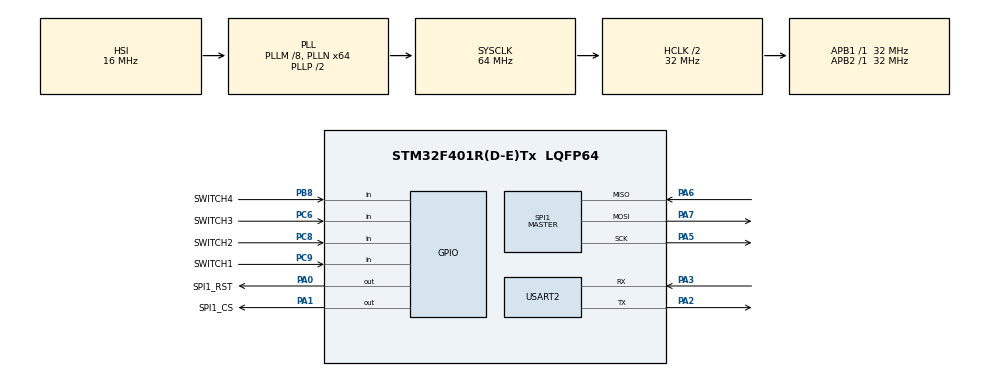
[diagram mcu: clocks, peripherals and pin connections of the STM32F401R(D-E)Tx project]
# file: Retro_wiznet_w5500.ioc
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FREERTOS.Tasks01=defaultTask,24,128,StartDefaultTask,Default,NULL,Dynamic,NULL,NULL
FREERTOS.configUSE_NEWLIB_REENTRANT=1
Mcu.Family=STM32F4
Mcu.Name=STM32F401R(D-E)Tx
Mcu.Package=LQFP64
NVIC.PriorityGroup=NVIC_PRIORITYGROUP_4
NVIC.TIM1_UP_TIM10_IRQn=true\:15\:0\:false\:false\:true\:false\:false\:true\:true
NVIC.TimeBase=TIM1_UP_TIM10_IRQn
NVIC.TimeBaseIP=TIM1
PA0-WKUP.GPIO_Label=SPI1_RST
PA0-WKUP.Signal=GPIO_Output
PA1.GPIO_Label=SPI1_CS
PA1.Signal=GPIO_Output
PA2.Mode=Asynchronous
PA2.Signal=USART2_TX
PA3.Mode=Asynchronous
PA3.Signal=USART2_RX
PA5.Mode=Full_Duplex_Master
PA5.Signal=SPI1_SCK
PA6.Mode=Full_Duplex_Master
PA6.Signal=SPI1_MISO
PA7.Mode=Full_Duplex_Master
PA7.Signal=SPI1_MOSI
PB8.GPIO_Label=SWITCH4
PB8.GPIO_PuPd=GPIO_PULLDOWN
PB8.Signal=GPIO_Input
PC6.GPIO_Label=SWITCH3
PC6.GPIO_PuPd=GPIO_PULLDOWN
PC6.Signal=GPIO_Input
PC8.GPIO_Label=SWITCH2
PC8.GPIO_PuPd=GPIO_PULLDOWN
PC8.Signal=GPIO_Input
PC9.GPIO_Label=SWITCH1
PC9.GPIO_PuPd=GPIO_PULLDOWN
PC9.Signal=GPIO_Input
ProjectManager.HeapSize=0x200
ProjectManager.StackSize=0x400
ProjectManager.TargetToolchain=STM32CubeIDE
RCC.48MHZClocksFreq_Value=32000000
RCC.AHBCLKDivider=RCC_SYSCLK_DIV2
RCC.AHBFreq_Value=32000000
RCC.APB1Freq_Value=32000000
RCC.APB1TimFreq_Value=32000000
RCC.APB2Freq_Value=32000000
RCC.APB2TimFreq_Value=32000000
RCC.CortexFreq_Value=32000000
RCC.HCLKFreq_Value=32000000
RCC.HSE_VALUE=25000000
RCC.HSI_VALUE=16000000
RCC.LSE_VALUE=32768
RCC.PLLM=8
RCC.PLLN=64
RCC.SYSCLKFreq_VALUE=64000000
RCC.SYSCLKSource=RCC_SYSCLKSOURCE_PLLCLK
RCC.VCOOutputFreq_Value=128000000
SPI1.BaudRatePrescaler=SPI_BAUDRATEPRESCALER_2
SPI1.Direction=SPI_DIRECTION_2LINES
SPI1.Mode=SPI_MODE_MASTER
SPI1.VirtualType=VM_MASTER
USART2.VirtualMode=VM_ASYNC
VP_FREERTOS_VS_CMSIS_V2.Mode=CMSIS_V2
VP_SYS_VS_tim1.Mode=TIM1
board=custom

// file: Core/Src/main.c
/* USER CODE BEGIN Header */
/**
  ******************************************************************************
  * @file           : main.c
  * @brief          : Main program body
  ******************************************************************************
  * @attention
  *
  * Copyright (c) 2024 STMicroelectronics.
  * All rights reserved.
  *
  * This software is licensed under terms that can be found in the LICENSE file
  * in the root directory of this software component.
  * If no LICENSE file comes with this software, it is provided AS-IS.
  *
  ******************************************************************************
  */
/* USER CODE END Header */
#include "main.h"
#include "cmsis_os.h"

/* USER CODE BEGIN Includes */

#include <stdio.h>
#include <string.h>
#include <stdbool.h>

#include "dns.h"
#include "dhcp.h"
#include "socket.h"
#include "w5500_spi.h"
#include "MQTTClient.h"
#include "wizchip_conf.h"
#include "mqtt_interface.h"

/* USER CODE END Includes */

/* USER CODE BEGIN PTD */
#define DHCP_BUFF_SIZE	   2048
#define SOCKET_ID_FOR_DHCP 7
#define SOCKET_ID_FOR_DNS  6

#define SWITCH_EVENT_QUEUE_SIZE 20
#define SWITCH_TASK_STACK_SIZE 512
#define MQTT_TASK_STACK_SIZE 1024

#define SWITCH_TASK_PRIORITY 3  // Higher priority
#define MQTT_TASK_PRIORITY 2   // Lower priority
/* USER CODE END PTD */

SPI_HandleTypeDef hspi1;

UART_HandleTypeDef huart2;

/* Definitions for defaultTask */
osThreadId_t defaultTaskHandle;
const osThreadAttr_t defaultTask_attributes = {
  .name = "defaultTask",
  .stack_size = 128 * 4,
  .priority = (osPriority_t) osPriorityNormal,
};
/* USER CODE BEGIN PV */
osThreadId_t switchTaskHandle;
osThreadId_t mqttTaskHandle;
osMessageQueueId_t switchEventQueueHandle;

wiz_NetInfo gWIZNETINFO = {
		.mac = { 0x80, 0x34, 0x28, 0x74, 0xA5, 0xCB },//MSB - LSB
		.ip ={ 192, 168, 1, 112 },
		.sn = { 255, 255, 255, 0 },
		.gw ={ 192, 168, 1, 1 },
		.dns = { 8, 8, 8, 8 },
		.dhcp = NETINFO_STATIC };

uint8_t dhcp_buffer[DHCP_BUFF_SIZE];
uint8_t destination_ip[]={192,168,1,36};
uint16_t destination_port = 1883;

MQTTClient mqtt_client;
Network network;
MQTTPacket_connectData connect_data = MQTTPacket_connectData_initializer;
MQTTMessage msg={QOS0,1,0,1,"hello from wiznet!",18};

uint8_t sendbuff[256],receivebuff[256];

uint8_t dns_buffer[MAX_DNS_BUF_SIZE];
extern bool StateChangeFlag;
bool tempflag = false;
uint8_t dns_ip[4] = {8,8,8,8};
char* remote_host = "mqtt.onwords.in";
uint8_t remote_host_ip[4];
uint8_t chk = 1;
int result;
/* USER CODE END PV */

void SystemClock_Config(void);
static void MX_GPIO_Init(void);
static void MX_SPI1_Init(void);
static void MX_USART2_UART_Init(void);
void StartDefaultTask(void *argument);

/* USER CODE BEGIN PFP */
void InitializeHardware(void);
void InitializeW5500(void);
void Task_SwitchHandler(void *argument);
void Task_MQTTHandler(void *argument);
static void PHYStatusCheck(void);
static void PrintPHYConf(void);
void SWITCH_Handler(void);
void OnDHCPIPAssigned(void);
void DisplayNetworkConfigurations();
void FlushQueue(osMessageQueueId_t queueHandle);
/* USER CODE END PFP */

int main(void)
{

  /* MCU Configuration--------------------------------------------------------*/

  /* Reset of all peripherals, Initializes the Flash interface and the Systick. */
  HAL_Init();

  /* Configure the system clock */
  SystemClock_Config();

  /* Initialize all configured peripherals */
  MX_GPIO_Init();
  MX_SPI1_Init();
  MX_USART2_UART_Init();
  /* USER CODE BEGIN 2 */
  printf("Sys Init\r\n");
  //printf("w5500initialized\n\r");
  InitializeW5500();
  printf("w5500initialized\n\r");
  /* USER CODE END 2 */

  /* Init scheduler */
  osKernelInitialize();

  /* USER CODE BEGIN RTOS_QUEUES */
  switchEventQueueHandle = osMessageQueueNew(SWITCH_EVENT_QUEUE_SIZE, sizeof(uint8_t), NULL);
  /* add queues, ... */
  /* USER CODE END RTOS_QUEUES */

  /* Create the thread(s) */
  /* creation of defaultTask */
  defaultTaskHandle = osThreadNew(StartDefaultTask, NULL, &defaultTask_attributes);

  /* USER CODE BEGIN RTOS_EVENTS */
  osThreadNew(Task_SwitchHandler, NULL, &(osThreadAttr_t){
  	  .name = "SwitchTask",
  	  .priority = (osPriority_t)SWITCH_TASK_PRIORITY,
  	  .stack_size = SWITCH_TASK_STACK_SIZE
    });

	osThreadNew(Task_MQTTHandler, NULL, &(osThreadAttr_t){
	  .name = "MQTTTask",
	  .priority = (osPriority_t)MQTT_TASK_PRIORITY,
	  .stack_size = MQTT_TASK_STACK_SIZE
	});
  /* add events, ... */
  /* USER CODE END RTOS_EVENTS */

  /* Start scheduler */
  osKernelStart();

  /* We should never get here as control is now taken by the scheduler */

  /* Infinite loop */
  while (1)
  {

  }
}

void SystemClock_Config(void)
{
  RCC_OscInitTypeDef RCC_OscInitStruct = {0};
  RCC_ClkInitTypeDef RCC_ClkInitStruct = {0};

  /** Configure the main internal regulator output voltage
  */
  __HAL_RCC_PWR_CLK_ENABLE();
  __HAL_PWR_VOLTAGESCALING_CONFIG(PWR_REGULATOR_VOLTAGE_SCALE2);

  /** Initializes the RCC Oscillators according to the specified parameters
  * in the RCC_OscInitTypeDef structure.
  */
  RCC_OscInitStruct.OscillatorType = RCC_OSCILLATORTYPE_HSI;
  RCC_OscInitStruct.HSIState = RCC_HSI_ON;
  RCC_OscInitStruct.HSICalibrationValue = RCC_HSICALIBRATION_DEFAULT;
  RCC_OscInitStruct.PLL.PLLState = RCC_PLL_ON;
  RCC_OscInitStruct.PLL.PLLSource = RCC_PLLSOURCE_HSI;
  RCC_OscInitStruct.PLL.PLLM = 8;
  RCC_OscInitStruct.PLL.PLLN = 64;
  RCC_OscInitStruct.PLL.PLLP = RCC_PLLP_DIV2;
  RCC_OscInitStruct.PLL.PLLQ = 4;
  if (HAL_RCC_OscConfig(&RCC_OscInitStruct) != HAL_OK)
  {
    Error_Handler();
  }

  /** Initializes the CPU, AHB and APB buses clocks
  */
  RCC_ClkInitStruct.ClockType = RCC_CLOCKTYPE_HCLK|RCC_CLOCKTYPE_SYSCLK
                              |RCC_CLOCKTYPE_PCLK1|RCC_CLOCKTYPE_PCLK2;
  RCC_ClkInitStruct.SYSCLKSource = RCC_SYSCLKSOURCE_PLLCLK;
  RCC_ClkInitStruct.AHBCLKDivider = RCC_SYSCLK_DIV2;
  RCC_ClkInitStruct.APB1CLKDivider = RCC_HCLK_DIV1;
  RCC_ClkInitStruct.APB2CLKDivider = RCC_HCLK_DIV1;

  if (HAL_RCC_ClockConfig(&RCC_ClkInitStruct, FLASH_LATENCY_1) != HAL_OK)
  {
    Error_Handler();
  }
}

static void MX_SPI1_Init(void)
{

  /* SPI1 parameter configuration*/
  hspi1.Instance = SPI1;
  hspi1.Init.Mode = SPI_MODE_MASTER;
  hspi1.Init.Direction = SPI_DIRECTION_2LINES;
  hspi1.Init.DataSize = SPI_DATASIZE_8BIT;
  hspi1.Init.CLKPolarity = SPI_POLARITY_LOW;
  hspi1.Init.CLKPhase = SPI_PHASE_1EDGE;
  hspi1.Init.NSS = SPI_NSS_SOFT;
  hspi1.Init.BaudRatePrescaler = SPI_BAUDRATEPRESCALER_2;
  hspi1.Init.FirstBit = SPI_FIRSTBIT_MSB;
  hspi1.Init.TIMode = SPI_TIMODE_DISABLE;
  hspi1.Init.CRCCalculation = SPI_CRCCALCULATION_DISABLE;
  hspi1.Init.CRCPolynomial = 10;
  if (HAL_SPI_Init(&hspi1) != HAL_OK)
  {
    Error_Handler();
  }

}

static void MX_USART2_UART_Init(void)
{

  huart2.Instance = USART2;
  huart2.Init.BaudRate = 115200;
  huart2.Init.WordLength = UART_WORDLENGTH_8B;
  huart2.Init.StopBits = UART_STOPBITS_1;
  huart2.Init.Parity = UART_PARITY_NONE;
  huart2.Init.Mode = UART_MODE_TX_RX;
  huart2.Init.HwFlowCtl = UART_HWCONTROL_NONE;
  huart2.Init.OverSampling = UART_OVERSAMPLING_16;
  if (HAL_UART_Init(&huart2) != HAL_OK)
  {
    Error_Handler();
  }

}

static void MX_GPIO_Init(void)
{
  GPIO_InitTypeDef GPIO_InitStruct = {0};

  /* GPIO Ports Clock Enable */
  __HAL_RCC_GPIOA_CLK_ENABLE();
  __HAL_RCC_GPIOC_CLK_ENABLE();
  __HAL_RCC_GPIOB_CLK_ENABLE();

  /*Configure GPIO pin Output Level */
  HAL_GPIO_WritePin(GPIOA, SPI1_RST_Pin|SPI1_CS_Pin, GPIO_PIN_RESET);

  /*Configure GPIO pins : SPI1_RST_Pin SPI1_CS_Pin */
  GPIO_InitStruct.Pin = SPI1_RST_Pin|SPI1_CS_Pin;
  GPIO_InitStruct.Mode = GPIO_MODE_OUTPUT_PP;
  GPIO_InitStruct.Pull = GPIO_NOPULL;
  GPIO_InitStruct.Speed = GPIO_SPEED_FREQ_LOW;
  HAL_GPIO_Init(GPIOA, &GPIO_InitStruct);

  /*Configure GPIO pins : SWITCH3_Pin SWITCH2_Pin SWITCH1_Pin */
  GPIO_InitStruct.Pin = SWITCH3_Pin|SWITCH2_Pin|SWITCH1_Pin;
  GPIO_InitStruct.Mode = GPIO_MODE_INPUT;
  GPIO_InitStruct.Pull = GPIO_PULLDOWN;
  HAL_GPIO_Init(GPIOC, &GPIO_InitStruct);

  /*Configure GPIO pin : SWITCH4_Pin */
  GPIO_InitStruct.Pin = SWITCH4_Pin;
  GPIO_InitStruct.Mode = GPIO_MODE_INPUT;
  GPIO_InitStruct.Pull = GPIO_PULLDOWN;
  HAL_GPIO_Init(SWITCH4_GPIO_Port, &GPIO_InitStruct);

}

/* USER CODE BEGIN 4 */
void InitializeW5500(void)
{
	printf("enters on w5500\r\n");
	W5500Init();
	wiz_PhyConf phyconf;

	phyconf.by=PHY_CONFBY_SW;
	phyconf.duplex=PHY_DUPLEX_FULL;
	phyconf.speed=PHY_SPEED_10;
	phyconf.mode=PHY_MODE_AUTONEGO;//best to go with auto-negotiation

	ctlwizchip(CW_SET_PHYCONF, (void*) &phyconf);

	PHYStatusCheck();
	PrintPHYConf();
}

void Task_SwitchHandler(void *argument) {
    uint8_t detected_switch_id = 0;
    uint8_t prev_SwitchState[] = {HAL_GPIO_ReadPin(SWITCH1_GPIO_Port, SWITCH1_Pin), HAL_GPIO_ReadPin(SWITCH2_GPIO_Port, SWITCH2_Pin),
    		HAL_GPIO_ReadPin(SWITCH3_GPIO_Port, SWITCH3_Pin),HAL_GPIO_ReadPin(SWITCH4_GPIO_Port, SWITCH4_Pin)};
	uint8_t Switch_CurrentState[4];
    while (1)
    {
    	Switch_CurrentState[0] = HAL_GPIO_ReadPin(SWITCH1_GPIO_Port, SWITCH1_Pin);
		if (Switch_CurrentState[0] != prev_SwitchState[0])
		{
			detected_switch_id = 1;
			prev_SwitchState[0] = Switch_CurrentState[0];
		}

        if (detected_switch_id != 0) {
            if (osMessageQueuePut(switchEventQueueHandle, &detected_switch_id, 0, 0) != osOK) {
            	osDelay(10);
				if (osMessageQueuePut(switchEventQueueHandle, &detected_switch_id, 0, 0) != osOK) {
					printf("Queue full after retry. Dropping switch event.\r\n");
				}
            }
            detected_switch_id = 0;
        }

        osDelay(10);
    }
}

void Task_MQTTHandler(void *argument)
{
    uint8_t mqtt_connected = 0;
    uint8_t result;
    uint8_t remote_host_ip[4];

    DHCP_init(SOCKET_ID_FOR_DHCP, dhcp_buffer);
	reg_dhcp_cbfunc(OnDHCPIPAssigned, NULL, NULL);
	printf("Obtaining IP address ...\r\n");
	//MQTT Client Part
	connect_data.willFlag = 0;
	connect_data.MQTTVersion = 4;
	connect_data.clientID.cstring = "testw5500";
	connect_data.username.cstring = "Nikhil";
	connect_data.password.cstring = "Nikhil8182";

	connect_data.keepAliveInterval = 60;//seconds
	connect_data.cleansession = 1;

	NewNetwork(&network, 1);//1 is the socket number to use
	DNS_init(SOCKET_ID_FOR_DNS, dns_buffer);

    while(StateChangeFlag == false)
   	{
   	  DHCP_run();
   	}

    printf("Resolving hostname: %s\n", remote_host);
	result = DNS_run(gWIZNETINFO.dns, (uint8_t *)remote_host, remote_host_ip);

	if (result != 1)
	{
	   printf("DNS resolution failed for hostname: %s\n", remote_host);
	   while (1);
	}

	printf("Hostname resolved: %s -> %d.%d.%d.%d\n",
		  remote_host, remote_host_ip[0], remote_host_ip[1], remote_host_ip[2], remote_host_ip[3]);

	if (ConnectNetwork(&network, remote_host_ip, destination_port) != SOCK_OK)
	{
	   printf("Failed to connect to MQTT broker.\n");
	   while (1);
	}

	printf("Connected to MQTT broker.\n");

	MQTTClientInit(&mqtt_client, &network, 1000, sendbuff, sizeof(sendbuff), receivebuff, sizeof(receivebuff));
	connect_data.keepAliveInterval = 120;

	if (MQTTConnect(&mqtt_client, &connect_data) != MQTT_SUCCESS)
	{
	   printf("MQTT connection failed.\n");
	   while (1);
	}
    mqtt_connected = 1;
    printf("MQTT connection established.\n");

    while (1) {
            if (mqtt_connected)
            {
                if (!MQTTIsConnected(&mqtt_client))
                {
                    printf("MQTT connection lost. Attempting to reconnect...\n");
                    mqtt_connected = 0;
                }
                else
                {
                	uint8_t switch_event;
					if (osMessageQueueGet(switchEventQueueHandle, &switch_event, NULL, 0) == osOK)
					{
					   char message[32];
					   snprintf(message, sizeof(message), "switch %d detected", switch_event);

					   MQTTMessage mqtt_message = {
						   .qos = QOS0,
						   .retained = 0,
						   .dup = 0,
						   .id = 0,
						   .payload = message,
						   .payloadlen = strlen(message)
					   };

					   if (MQTTPublish(&mqtt_client, "onwords/wired002/status", &mqtt_message) == MQTT_SUCCESS)
					   {
						   printf("Published: %s\n", message);
					   } else
					   {
						   printf("MQTT publish failed.\n");
					   }
					   FlushQueue(switchEventQueueHandle);
					}
					 MQTTYield(&mqtt_client, 100);
                }
            }

            if (!mqtt_connected) {

            	result = DNS_run(gWIZNETINFO.dns, (uint8_t *)remote_host, remote_host_ip);

            		if (result != 1)
            		{
            		   printf("DNS resolution failed for hostname: %s\n", remote_host);
            		   while (1);
            		}

            		printf("Hostname resolved: %s -> %d.%d.%d.%d\n",
            			  remote_host, remote_host_ip[0], remote_host_ip[1], remote_host_ip[2], remote_host_ip[3]);

            		if (ConnectNetwork(&network, remote_host_ip, destination_port) != SOCK_OK)
            		{
            		   printf("Failed to connect to MQTT broker.\n");
            		   while (1);
            		}

            		printf("Connected to MQTT broker.\n");

            		MQTTClientInit(&mqtt_client, &network, 1000, sendbuff, sizeof(sendbuff), receivebuff, sizeof(receivebuff));
            		//connect_data.keepAliveInterval = 120;

            		if (MQTTConnect(&mqtt_client, &connect_data) != MQTT_SUCCESS)
            		{
            		   printf("MQTT connection failed.\n");
            		   while (1);
            		}
            	    mqtt_connected = 1;
            	    printf("MQTT connection established.\n");
            }
            osDelay(100);
        }
}

#define PUTCHAR  int __io_putchar(int ch)
PUTCHAR
{
	HAL_UART_Transmit(&huart2, (uint8_t*)&ch, 1, HAL_MAX_DELAY);
	return ch;
}

void PHYStatusCheck(void)
{
	uint8_t tmp;

	do
	{
		printf("\r\nChecking Ethernet Cable Presence ...");
		ctlwizchip(CW_GET_PHYLINK, (void*) &tmp);

		if(tmp == PHY_LINK_OFF)
		{
			printf("NO Cable Connected!");
			HAL_Delay(1500);
		}
	}while(tmp == PHY_LINK_OFF);

	printf("Good! Cable got connected!");

}

void PrintPHYConf(void)
{
	wiz_PhyConf phyconf;

	ctlwizchip(CW_GET_PHYCONF, (void*) &phyconf);

	if(phyconf.by==PHY_CONFBY_HW)
	{
		printf("\n\rPHY Configured by Hardware Pins");
	}
	else
	{
		printf("\n\rPHY Configured by Registers");
	}

	if(phyconf.mode==PHY_MODE_AUTONEGO)
	{
		printf("\n\rAutonegotiation Enabled");
	}
	else
	{
		printf("\n\rAutonegotiation NOT Enabled");
	}

	if(phyconf.duplex==PHY_DUPLEX_FULL)
	{
		printf("\n\rDuplex Mode: Full");
	}
	else
	{
		printf("\n\rDuplex Mode: Half");
	}

	if(phyconf.speed==PHY_SPEED_10)
	{
		printf("\n\rSpeed: 10Mbps");
	}
	else
	{
		printf("\n\rSpeed: 100Mbps");
	}
}

void DisplayNetworkConfigurations()
{
	ctlnetwork(CN_GET_NETINFO, (void*) &gWIZNETINFO);

	printf(" MAC : %02X:%02X:%02X:%02X:%02X:%02X\r\n", gWIZNETINFO.mac[0], gWIZNETINFO.mac[1], gWIZNETINFO.mac[2], gWIZNETINFO.mac[3], gWIZNETINFO.mac[4], gWIZNETINFO.mac[5]);
	printf(" IP : %d.%d.%d.%d\r\n", gWIZNETINFO.ip[0], gWIZNETINFO.ip[1], gWIZNETINFO.ip[2], gWIZNETINFO.ip[3]);
	printf(" GW : %d.%d.%d.%d\r\n", gWIZNETINFO.gw[0], gWIZNETINFO.gw[1], gWIZNETINFO.gw[2], gWIZNETINFO.gw[3]);
	printf(" SN : %d.%d.%d.%d\r\n", gWIZNETINFO.sn[0], gWIZNETINFO.sn[1], gWIZNETINFO.sn[2], gWIZNETINFO.sn[3]);
	printf("=======================================\r\n");
}

void OnDHCPIPAssigned(void)
{

	printf("IP Obtained: \r\n");

	getIPfromDHCP(gWIZNETINFO.ip);
	getGWfromDHCP(gWIZNETINFO.gw);
	getSNfromDHCP(gWIZNETINFO.sn);
	getDNSfromDHCP(gWIZNETINFO.dns);

	gWIZNETINFO.dhcp = NETINFO_DHCP;

	ctlnetwork(CN_SET_NETINFO, (void*) &gWIZNETINFO);

	DisplayNetworkConfigurations();
}

void FlushQueue(osMessageQueueId_t queueHandle) {
    uint32_t received_message;
    while (osMessageQueueGet(queueHandle, &received_message, NULL, 0) == osOK) {
        // Loop until the queue is empty
        printf("Flushing event: %lu\r\n", received_message);
    }
}

/* USER CODE END 4 */

void StartDefaultTask(void *argument)
{
  for(;;)
  {
    osDelay(1);
  }
}

void HAL_TIM_PeriodElapsedCallback(TIM_HandleTypeDef *htim)
{
  if (htim->Instance == TIM1) {
    HAL_IncTick();
  }
  /* USER CODE BEGIN Callback 1 */
  MilliTimer_Handler(); //For MQTT

       //One second callback for DHCP Module
  	static uint16_t milli_count;
  	milli_count++;

  	if(milli_count==1000)
  	{
  	milli_count=0;
  	DHCP_time_handler();
  	DNS_time_handler();
  	}
  /* USER CODE END Callback 1 */
}

void Error_Handler(void)
{
  __disable_irq();
  while (1)
  {
  }
}
